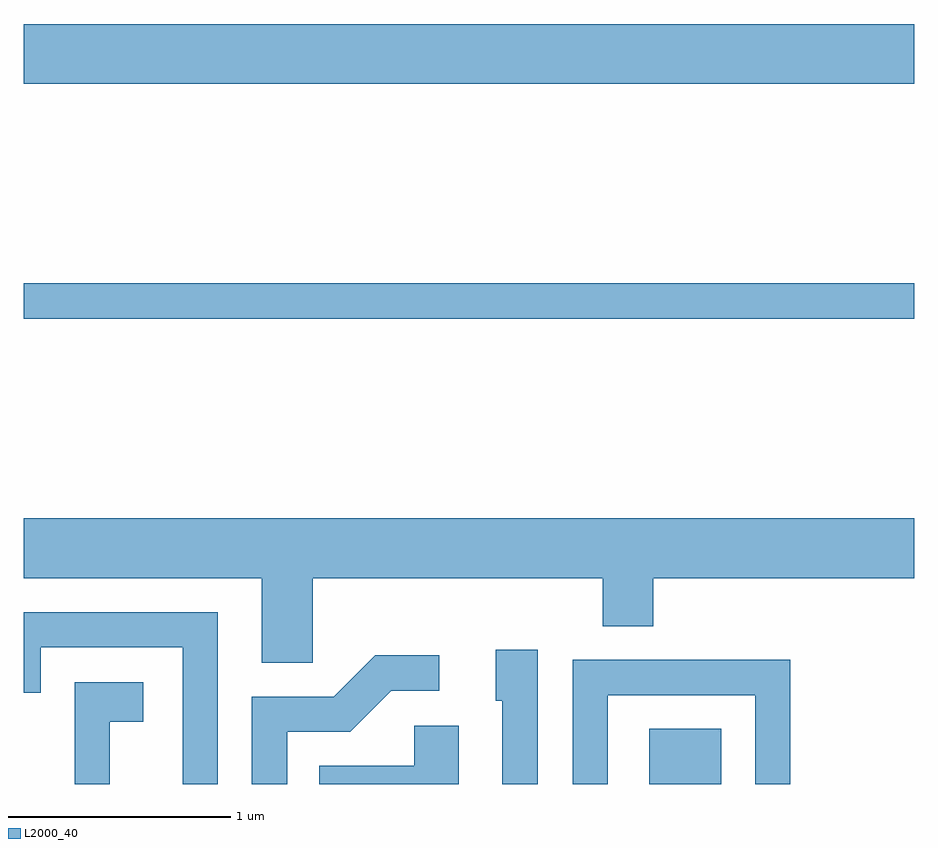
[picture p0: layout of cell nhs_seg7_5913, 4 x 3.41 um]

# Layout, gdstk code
import gdstk
lib = gdstk.Library(unit=1e-6, precision=1e-09)
def R(c, l, rs):  # rectangles x0, y0, x1, y1
    for r in rs: c.add(gdstk.rectangle(r[:2], r[2:], *l))
def P(c, l, *ps):  # polygons
    for p in ps: c.add(gdstk.Polygon(p, *l))
L2000_40 = (2000, 40)

nhs_seg7_5913 = lib.new_cell('nhs_seg7_5913')
R(nhs_seg7_5913, L2000_40, [(368.421,1742.252,368.744,1742.499), (365.611,1744.341,369.611,1744.499), (365.611,1745.396,369.611,1745.664)])
P(nhs_seg7_5913, L2000_40, [(366.909,1743.176),(368.211,1743.176),(368.211,1742.961),(368.439,1742.961),(368.439,1743.176),(369.611,1743.176),(369.611,1743.444),(365.611,1743.444),(365.611,1743.176),(366.681,1743.176),(366.681,1742.796),(366.909,1742.796)],
  [(366.484,1743.024),(365.611,1743.024),(365.611,1742.661),(365.689,1742.661),(365.689,1742.866),(366.326,1742.866),(366.326,1742.252),(366.484,1742.252)],
  [(367.919,1742.854),(367.731,1742.854),(367.731,1742.626),(367.761,1742.626),(367.761,1742.252),(367.919,1742.252)],
  [(366.794,1742.486),(367.077,1742.486),(367.262,1742.671),(367.478,1742.671),(367.478,1742.829),(367.189,1742.829),(367.004,1742.644),(366.636,1742.644),(366.636,1742.252),(366.794,1742.252)],
  [(368.234,1742.651),(368.896,1742.651),(368.896,1742.252),(369.054,1742.252),(369.054,1742.809),(368.076,1742.809),(368.076,1742.252),(368.234,1742.252)],
  [(365.999,1742.531),(366.149,1742.531),(366.149,1742.709),(365.841,1742.709),(365.841,1742.252),(365.999,1742.252)],
  [(367.564,1742.514),(367.366,1742.514),(367.366,1742.334),(366.938,1742.334),(366.938,1742.252),(367.564,1742.252)])

lib.write_gds('nhs_seg7_5913.gds')
